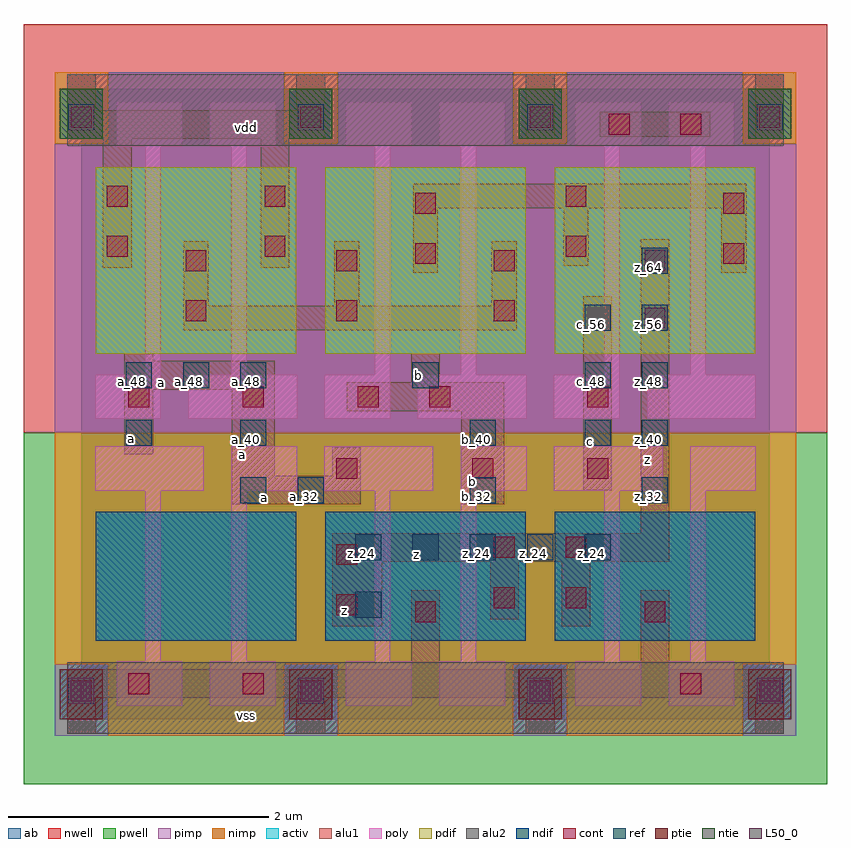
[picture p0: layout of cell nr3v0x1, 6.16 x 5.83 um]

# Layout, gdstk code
import gdstk
lib = gdstk.Library(unit=1e-6, precision=2.5e-09)
def R(c, l, rs):  # rectangles x0, y0, x1, y1
    for r in rs: c.add(gdstk.rectangle(r[:2], r[2:], *l))
def A(c, l, x, y, w, h, nx, ny, dx, dy):  # array of equal rectangles
    R(c, l, [(x+i*dx, y+j*dy, x+i*dx+w, y+j*dy+h) for i in range(nx) for j in range(ny)])
ndif = (3, 0)
pdif = (4, 0)
ntie = (5, 0)
ptie = (6, 0)
ref = (24, 0)
cont = (25, 0)
pwell = (41, 0)
nwell = (42, 0)
activ = (43, 0)
pimp = (44, 0)
nimp = (45, 0)
poly = (46, 0)
alu1 = (49, 0)
L50_0 = (50, 0)
alu2 = (51, 0)
ab = (63, 0)

nr3v0x1 = lib.new_cell('nr3v0x1')
A(nr3v0x1, ndif, 0.11, 0.605, 1.54, 0.99, 3, 1, 1.76, 0)
A(nr3v0x1, pdif, 0.11, 2.805, 1.54, 1.43, 3, 1, 1.76, 0)
A(nr3v0x1, ntie, -0.165, 4.455, 0.33, 0.385, 4, 1, 1.76, 0)
A(nr3v0x1, ptie, -0.165, 0, 0.33, 0.385, 4, 1, 1.76, 0)
A(nr3v0x1, ref, 2.1, 1.22, 0.2, 0.2, 5, 1, 0.44, 0)
A(nr3v0x1, ref, 1.66, 1.66, 0.2, 0.2, 3, 1, 1.32, 0)
A(nr3v0x1, ref, 3.86, 2.1, 0.2, 0.2, 1, 3, 0, 0.44)
A(nr3v0x1, ref, 4.3, 2.1, 0.2, 0.2, 1, 4, 0, 0.44)
A(nr3v0x1, ref, 0.34, 2.54, 0.2, 0.2, 3, 1, 0.44, 0)
R(nr3v0x1, ref, [(2.1,0.78,2.3,0.98), (1.22,1.66,1.42,1.86), (0.34,2.1,0.54,2.3), (1.22,2.1,1.42,2.3), (2.98,2.1,3.18,2.3), (2.54,2.54,2.74,2.74)])
A(nr3v0x1, cont, -0.08, 0.14, 0.16, 0.16, 4, 2, 1.76, 4.4)
A(nr3v0x1, cont, 0.36, 2.395, 0.16, 0.16, 3, 1, 0.88, 0)
R(nr3v0x1, cont, [(0.36,0.195,0.52,0.355), (1.24,0.195,1.4,0.355), (4.595,0.195,4.755,0.355), (2.56,0.745,2.72,0.905), (4.32,0.745,4.48,0.905), (1.955,0.8,2.115,0.96), (3.165,0.855,3.325,1.015), (3.715,0.855,3.875,1.015), (1.955,1.185,2.115,1.345), (3.165,1.24,3.325,1.4), (3.715,1.24,3.875,1.4), (1.955,1.845,2.115,2.005), (3,1.845,3.16,2.005), (3.88,1.845,4.04,2.005), (2.67,2.395,2.83,2.555), (3.88,2.395,4.04,2.555), (4.32,3,4.48,3.16), (0.8,3.055,0.96,3.215), (1.955,3.055,2.115,3.215), (3.165,3.055,3.325,3.215), (0.8,3.44,0.96,3.6), (1.955,3.44,2.115,3.6), (3.165,3.44,3.325,3.6), (4.32,3.44,4.48,3.6), (2.56,3.495,2.72,3.655), (4.925,3.495,5.085,3.655), (0.195,3.55,0.355,3.71), (1.405,3.55,1.565,3.71), (3.715,3.55,3.875,3.71), (2.56,3.88,2.72,4.04), (4.925,3.88,5.085,4.04), (0.195,3.935,0.355,4.095), (1.405,3.935,1.565,4.095), (3.715,3.935,3.875,4.095), (4.045,4.485,4.205,4.645), (4.595,4.485,4.755,4.645)])
R(nr3v0x1, pwell, [(-0.44,-0.495,5.72,2.2)])
R(nr3v0x1, nwell, [(-0.44,2.2,5.72,5.335)])
A(nr3v0x1, activ, -0.165, 0, 0.33, 0.385, 4, 2, 1.76, 4.455)
A(nr3v0x1, activ, 0.11, 0.605, 1.54, 0.99, 3, 1, 1.76, 0)
A(nr3v0x1, activ, 0.11, 2.805, 1.54, 1.43, 3, 1, 1.76, 0)
A(nr3v0x1, pimp, -0.205, -0.125, 0.41, 0.55, 4, 1, 1.76, 0)
A(nr3v0x1, pimp, 0.205, 4.415, 1.35, 0.55, 3, 1, 1.76, 0)
R(nr3v0x1, pimp, [(-0.205,2.2,5.485,4.415)])
A(nr3v0x1, nimp, 0.205, -0.125, 1.35, 0.55, 3, 1, 1.76, 0)
A(nr3v0x1, nimp, -0.205, 4.415, 0.41, 0.55, 4, 1, 1.76, 0)
R(nr3v0x1, nimp, [(-0.205,0.425,5.485,2.2)])
A(nr3v0x1, poly, 0.105, 1.755, 0.835, 0.34, 3, 1, 1.76, 0)
A(nr3v0x1, poly, 1.15, 1.755, 0.505, 0.34, 3, 1, 1.76, 0)
A(nr3v0x1, poly, 0.105, 2.305, 0.505, 0.34, 3, 1, 1.76, 0)
A(nr3v0x1, poly, 0.82, 2.305, 0.835, 0.34, 3, 1, 1.76, 0)
R(nr3v0x1, poly, [(0.27,0.105,0.775,0.445), (0.985,0.105,1.49,0.445), (2.03,0.105,2.535,0.445), (2.745,0.105,3.25,0.445), (3.79,0.105,4.295,0.445), (4.505,0.105,5.01,0.445), (0.49,0.445,0.61,1.755), (1.15,0.445,1.27,1.755), (2.25,0.445,2.37,1.755), (2.91,0.445,3.03,1.755), (4.01,0.445,4.13,1.755), (4.67,0.445,4.79,1.755), (0.49,2.645,0.61,4.395), (1.15,2.645,1.27,4.395), (2.25,2.645,2.37,4.395), (2.91,2.645,3.03,4.395), (4.01,2.645,4.13,4.395), (4.67,2.645,4.79,4.395), (0.27,4.395,0.775,4.735), (0.985,4.395,1.49,4.735), (2.03,4.395,2.535,4.735), (2.745,4.395,3.25,4.735), (3.79,4.395,4.295,4.735), (4.505,4.395,5.01,4.735)])
A(nr3v0x1, alu1, -0.11, -0.11, 0.22, 0.275, 4, 1, 1.76, 0)
R(nr3v0x1, alu1, [(-0.11,0.165,5.39,0.385), (2.53,0.385,2.75,0.99), (4.29,0.385,4.51,0.99), (1.925,0.715,2.31,1.21), (3.685,0.715,3.905,1.21), (3.135,0.77,3.355,1.21), (1.925,1.21,4.51,1.43), (4.29,1.43,4.51,3.685), (1.155,1.65,2.145,1.87), (2.915,1.65,3.245,2.365), (3.85,1.76,4.07,3.245), (1.155,1.87,1.485,2.53), (1.925,1.87,2.145,2.09), (0.33,2.035,0.55,2.53), (2.035,2.365,3.245,2.585), (0.33,2.53,1.485,2.75), (2.53,2.585,2.75,2.805), (0.33,2.75,0.55,2.805), (0.785,2.985,3.34,3.175), (0.785,3.175,0.975,3.67), (1.94,3.175,2.13,3.67), (3.15,3.175,3.34,3.67), (2.545,3.425,2.735,3.92), (4.91,3.425,5.1,3.92), (0.165,3.465,0.385,4.455), (1.375,3.465,1.595,4.455), (3.7,3.48,3.89,3.92), (2.545,3.92,5.1,4.11), (-0.11,4.455,1.87,4.675), (3.41,4.455,3.63,4.95), (5.17,4.455,5.39,4.95), (3.975,4.47,4.825,4.66), (-0.11,4.675,0.11,4.95), (1.65,4.675,1.87,4.95)])
A(nr3v0x1, L50_0, -0.1, 0.12, 0.2, 0.2, 4, 2, 1.76, 4.4)
R(nr3v0x1, alu2, [(-0.11,-0.11,5.39,0.44), (-0.11,4.4,5.39,4.95)])
R(nr3v0x1, ab, [(0,0,5.28,4.84)])
nr3v0x1.add(gdstk.Label('z', (2.02,0.8375), layer=49, texttype=0))
nr3v0x1.add(gdstk.Label('z', (2.57,1.265), layer=49, texttype=0))
nr3v0x1.add(gdstk.Label('z', (4.345,1.9925), layer=49, texttype=0))
nr3v0x1.add(gdstk.Label('c', (3.905,2.13), layer=49, texttype=0))
nr3v0x1.add(gdstk.Label('b', (2.9975,1.8275), layer=49, texttype=0))
nr3v0x1.add(gdstk.Label('a', (1.4025,1.705), layer=49, texttype=0))
nr3v0x1.add(gdstk.Label('a', (1.2375,2.035), layer=49, texttype=0))
nr3v0x1.add(gdstk.Label('a', (0.385,2.1575), layer=49, texttype=0))
nr3v0x1.add(gdstk.Label('b', (2.585,2.64), layer=49, texttype=0))
nr3v0x1.add(gdstk.Label('a', (0.6175,2.585), layer=49, texttype=0))
nr3v0x1.add(gdstk.Label('vss', (1.265,0.0275), layer=51, texttype=0))
nr3v0x1.add(gdstk.Label('vdd', (1.265,4.5375), layer=51, texttype=0))
nr3v0x1.add(gdstk.Label('a_48', (1.27,2.59), layer=24, texttype=0))
nr3v0x1.add(gdstk.Label('a_48', (0.39,2.59), layer=24, texttype=0))
nr3v0x1.add(gdstk.Label('b_48', (2.59,2.59), layer=24, texttype=0))
nr3v0x1.add(gdstk.Label('a_40', (0.39,2.15), layer=24, texttype=0))
nr3v0x1.add(gdstk.Label('a_32', (1.27,1.71), layer=24, texttype=0))
nr3v0x1.add(gdstk.Label('z_24', (3.91,1.27), layer=24, texttype=0))
nr3v0x1.add(gdstk.Label('z_24', (3.47,1.27), layer=24, texttype=0))
nr3v0x1.add(gdstk.Label('z_24', (2.59,1.27), layer=24, texttype=0))
nr3v0x1.add(gdstk.Label('z_24', (2.15,1.27), layer=24, texttype=0))
nr3v0x1.add(gdstk.Label('c_40', (3.91,2.15), layer=24, texttype=0))
nr3v0x1.add(gdstk.Label('c_48', (3.91,2.59), layer=24, texttype=0))
nr3v0x1.add(gdstk.Label('c_56', (3.91,3.03), layer=24, texttype=0))
nr3v0x1.add(gdstk.Label('z_64', (4.35,3.47), layer=24, texttype=0))
nr3v0x1.add(gdstk.Label('z_56', (4.35,3.03), layer=24, texttype=0))
nr3v0x1.add(gdstk.Label('z_48', (4.35,2.59), layer=24, texttype=0))
nr3v0x1.add(gdstk.Label('z_40', (4.35,2.15), layer=24, texttype=0))
nr3v0x1.add(gdstk.Label('z_32', (4.35,1.71), layer=24, texttype=0))
nr3v0x1.add(gdstk.Label('z_24', (3.03,1.27), layer=24, texttype=0))
nr3v0x1.add(gdstk.Label('a_48', (0.83,2.59), layer=24, texttype=0))
nr3v0x1.add(gdstk.Label('a_40', (1.27,2.15), layer=24, texttype=0))
nr3v0x1.add(gdstk.Label('b_40', (3.03,2.15), layer=24, texttype=0))
nr3v0x1.add(gdstk.Label('b_32', (3.03,1.71), layer=24, texttype=0))
nr3v0x1.add(gdstk.Label('a_32', (1.71,1.71), layer=24, texttype=0))
nr3v0x1.add(gdstk.Label('z_16', (2.15,0.83), layer=24, texttype=0))

lib.write_gds('nr3v0x1.gds')
